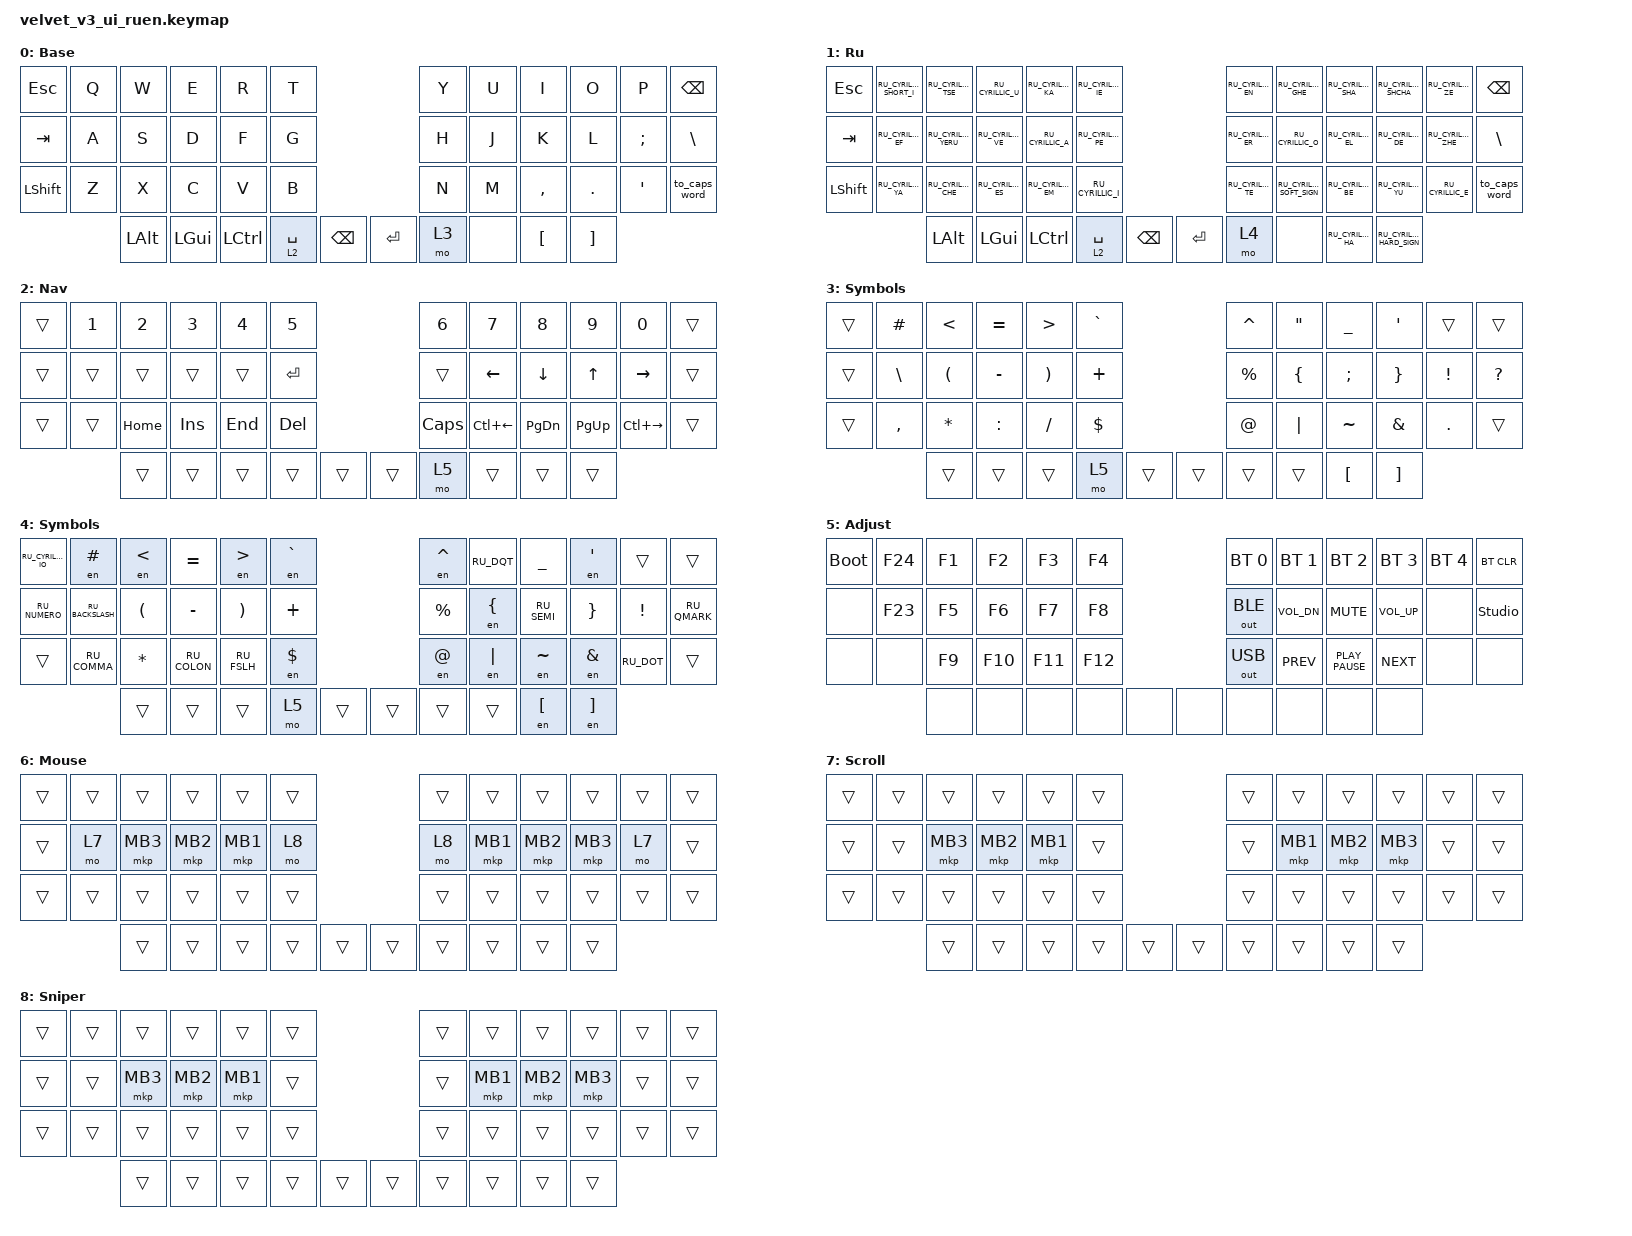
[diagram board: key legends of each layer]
#include "keys_ru.h"
#include <dt-bindings/zmk/input_transform.h>
#include <input/processors.dtsi>
#include <zephyr/dt-bindings/input/input-event-codes.h>
#include <behaviors.dtsi>
#include <dt-bindings/zmk/bt.h>
#include <dt-bindings/zmk/keys.h>
#include <dt-bindings/zmk/outputs.h>
#include <dt-bindings/zmk/pointing.h>

/ {
    behaviors {
        cap_sen: cap_sen {
            compatible = "zmk,behavior-hold-tap";
            label = "CAP_SEN";
            bindings = <&mo>, <&mkp>;

            #binding-cells = <2>;
            tapping-term-ms = <150>;
            hold-while-undecided;
        };

        mouse_layer: mouse_layer {
            compatible = "zmk,behavior-sticky-key";
            label = "MOUSE_LAYER";
            bindings = <&mo>;
            #binding-cells = <1>;
            release-after-ms = <200>;
        };

        to_caps_word: to_caps_word {
            compatible = "zmk,behavior-tap-dance";
            label = "TO_CAPS_WORD";
            #binding-cells = <0>;
            bindings = <&kp RIGHT_SHIFT>, <&caps_word>;
        };

        zip_auto_mouse: zip_auto_mouse {
            compatible = "zmk,input-processor-temp-layer";
            #input-processor-cells = <2>;
            require-prior-idle-ms = <800>;
            excluded-positions = <>;
        };
    };

    combos {
        compatible = "zmk,combos";

        cmben {
            bindings = <&layer_en>;
            key-positions = <3 4>;
            layers = <1>;
        };

        cmbru {
            bindings = <&layer_ru>;
            key-positions = <3 4>;
            layers = <0>;
        };

        code_word {
            bindings = <&code_word>;
            key-positions = <4 5>;
        };

        code_block {
            bindings = <&code_block>;
            key-positions = <5 17>;
        };
    };

    macros {
        to_ru: to_ru {
            compatible = "zmk,behavior-macro";
            #binding-cells = <0>;
            bindings = <&kp LS(LC(N2))>;
            label = "TO_RU";
            wait-ms = <0>;
            tap-ms = <30>;
        };

        to_en: to_en {
            compatible = "zmk,behavior-macro";
            #binding-cells = <0>;
            bindings = <&kp LS(LC(N1))>;
            label = "TO_EN";
            wait-ms = <0>;
            tap-ms = <30>;
        };

        layer_en: layer_en {
            compatible = "zmk,behavior-macro";
            #binding-cells = <0>;
            bindings = <&to 0 &to_en>;
            label = "LAYER_EN";
            wait-ms = <0>;
            tap-ms = <30>;
        };

        layer_ru: layer_ru {
            compatible = "zmk,behavior-macro";
            #binding-cells = <0>;
            bindings = <&to 1 &to_ru>;
            label = "LAYER_RU";
            tap-ms = <30>;
            wait-ms = <0>;
        };

        en: en {
            compatible = "zmk,behavior-macro-one-param";
            #binding-cells = <1>;
            bindings =
                <&to_en>,
                <&macro_press>,
                <&macro_param_1to1 &kp MACRO_PLACEHOLDER>,
                <&macro_pause_for_release>,
                <&macro_release>,
                <&macro_param_1to1 &kp MACRO_PLACEHOLDER>,
                <&macro_tap>,
                <&to_ru>;

            label = "EN";
            wait-ms = <0>;
            tap-ms = <30>;
        };

        code_word: code_word {
            compatible = "zmk,behavior-macro";
            #binding-cells = <0>;
            bindings =
                <&to_en>,
                <&macro_wait_time 50>,
                <&kp GRAVE &kp GRAVE>,
                <&macro_wait_time 20>,
                <&kp LEFT>;

            label = "CODE_WORD";
            tap-ms = <20>;
        };

        code_block: code_block {
            compatible = "zmk,behavior-macro";
            #binding-cells = <0>;
            bindings =
                <&to_en>,
                <&macro_wait_time 50>,
                <&kp GRAVE &kp GRAVE &kp GRAVE>,
                <&macro_wait_time 20>,
                <&kp LS(ENTER) &kp LS(ENTER)>,
                <&macro_wait_time 20>,
                <&kp GRAVE &kp GRAVE &kp GRAVE>,
                <&macro_wait_time 20>,
                <&kp UP>;

            label = "CODE_BLOCK";
            tap-ms = <20>;
        };
    };

    keymap {
        compatible = "zmk,keymap";

        en {
            bindings = <
&kp ESC         &kp Q  &kp W     &kp E     &kp R      &kp T                                  &kp Y  &kp U  &kp I      &kp O     &kp P     &kp BSPC
&kp TAB         &kp A  &kp S     &kp D     &kp F      &kp G                                  &kp H  &kp J  &kp K      &kp L     &kp SEMI  &kp BSLH
&kp LEFT_SHIFT  &kp Z  &kp X     &kp C     &kp V      &kp B                                  &kp N  &kp M  &kp COMMA  &kp DOT   &kp SQT   &to_caps_word
                       &kp LALT  &kp LGUI  &kp LCTRL  &lt 2 SPACE  &kp BACKSPACE    &kp RET  &mo 3  &none  &kp LBKT   &kp RBKT
            >;

            display-name = "Base";
        };

        ru {
            display-name = "Ru";
            bindings = <
&kp ESC    &kp RU_CYRILLIC_SHORT_I  &kp RU_CYRILLIC_TSE   &kp RU_CYRILLIC_U   &kp RU_CYRILLIC_KA  &kp RU_CYRILLIC_IE                            &kp RU_CYRILLIC_EN  &kp RU_CYRILLIC_GHE        &kp RU_CYRILLIC_SHA  &kp RU_CYRILLIC_SHCHA      &kp RU_CYRILLIC_ZE   &kp BSPC
&kp TAB    &kp RU_CYRILLIC_EF       &kp RU_CYRILLIC_YERU  &kp RU_CYRILLIC_VE  &kp RU_CYRILLIC_A   &kp RU_CYRILLIC_PE                            &kp RU_CYRILLIC_ER  &kp RU_CYRILLIC_O          &kp RU_CYRILLIC_EL   &kp RU_CYRILLIC_DE         &kp RU_CYRILLIC_ZHE  &kp BSLH
&kp LSHFT  &kp RU_CYRILLIC_YA       &kp RU_CYRILLIC_CHE   &kp RU_CYRILLIC_ES  &kp RU_CYRILLIC_EM  &kp RU_CYRILLIC_I                             &kp RU_CYRILLIC_TE  &kp RU_CYRILLIC_SOFT_SIGN  &kp RU_CYRILLIC_BE   &kp RU_CYRILLIC_YU         &kp RU_CYRILLIC_E    &to_caps_word
                                    &kp LALT              &kp LGUI            &kp LCTRL           &lt 2 SPACE         &kp BACKSPACE    &kp RET  &mo 4               &none                      &kp RU_CYRILLIC_HA   &kp RU_CYRILLIC_HARD_SIGN
            >;
        };

        nav {
            bindings = <
&trans  &kp N1  &kp N2    &kp N3   &kp N4   &kp N5                     &kp N6    &kp N7        &kp N8         &kp N9       &kp N0         &trans
&trans  &trans  &trans    &trans   &trans   &kp RET                    &trans    &kp LEFT      &kp DOWN       &kp UP       &kp RIGHT      &trans
&trans  &trans  &kp HOME  &kp INS  &kp END  &kp DEL                    &kp CLCK  &kp LC(LEFT)  &kp PAGE_DOWN  &kp PAGE_UP  &kp LC(RIGHT)  &trans
                &trans    &trans   &trans   &trans   &trans    &trans  &mo 5     &trans        &trans         &trans
            >;

            display-name = "Nav";
        };

        sym_en {
            bindings = <
&trans  &kp HASH   &kp LT    &kp EQUAL  &kp GT    &kp GRAVE                    &kp CARET  &kp DQT   &kp UNDER  &kp SQT   &trans    &trans
&trans  &kp BSLH   &kp LPAR  &kp MINUS  &kp RPAR  &kp PLUS                     &kp PRCNT  &kp LBRC  &kp SEMI   &kp RBRC  &kp EXCL  &kp QUESTION
&trans  &kp COMMA  &kp STAR  &kp COLON  &kp FSLH  &kp DLLR                     &kp AT     &kp PIPE  &kp TILDE  &kp AMPS  &kp DOT   &trans
                   &trans    &trans     &trans    &mo 5      &trans    &trans  &trans     &trans    &kp LBKT   &kp RBKT
            >;

            display-name = "Symbols";
        };

        sym_ru {
            display-name = "Symbols";
            bindings = <
&kp RU_CYRILLIC_IO  &en HASH          &en LT    &kp EQUAL     &en GT       &en GRAVE                    &en CARET  &kp RU_DQT  &kp UNDER    &en SQT   &trans      &trans
&kp RU_NUMERO       &kp RU_BACKSLASH  &kp LPAR  &kp MINUS     &kp RPAR     &kp PLUS                     &kp PRCNT  &en LBRC    &kp RU_SEMI  &kp RBRC  &kp EXCL    &kp RU_QMARK
&trans              &kp RU_COMMA      &kp STAR  &kp RU_COLON  &kp RU_FSLH  &en DLLR                     &en AT     &en PIPE    &en TILDE    &en AMPS  &kp RU_DOT  &trans
                                      &trans    &trans        &trans       &mo 5      &trans    &trans  &trans     &trans      &en LBKT     &en RBKT
            >;
        };

        adj {
            bindings = <
&bootloader  &kp F24  &kp F1  &kp F2   &kp F3   &kp F4                   &bt BT_SEL 0  &bt BT_SEL 1  &bt BT_SEL 2      &bt BT_SEL 3  &bt BT_SEL 4  &bt BT_CLR
&none        &kp F23  &kp F5  &kp F6   &kp F7   &kp F8                   &out OUT_BLE  &kp C_VOL_DN  &kp K_MUTE        &kp C_VOL_UP  &none         &studio_unlock
&none        &none    &kp F9  &kp F10  &kp F11  &kp F12                  &out OUT_USB  &kp K_PREV    &kp K_PLAY_PAUSE  &kp K_NEXT    &none         &none
                      &none   &none    &none    &none    &none    &none  &none         &none         &none             &none
            >;

            display-name = "Adjust";
        };

        mouse {
            bindings = <
&trans  &trans  &trans    &trans    &trans    &trans                    &trans  &trans    &trans    &trans    &trans  &trans
&trans  &mo 7   &mkp MB3  &mkp MB2  &mkp MB1  &mo 8                     &mo 8   &mkp MB1  &mkp MB2  &mkp MB3  &mo 7   &trans
&trans  &trans  &trans    &trans    &trans    &trans                    &trans  &trans    &trans    &trans    &trans  &trans
                &trans    &trans    &trans    &trans  &trans    &trans  &trans  &trans    &trans    &trans
            >;

            display-name = "Mouse";
        };

        scroll {
            bindings = <
&trans  &trans  &trans    &trans    &trans    &trans                    &trans  &trans    &trans    &trans    &trans  &trans
&trans  &trans  &mkp MB3  &mkp MB2  &mkp MB1  &trans                    &trans  &mkp MB1  &mkp MB2  &mkp MB3  &trans  &trans
&trans  &trans  &trans    &trans    &trans    &trans                    &trans  &trans    &trans    &trans    &trans  &trans
                &trans    &trans    &trans    &trans  &trans    &trans  &trans  &trans    &trans    &trans
            >;

            display-name = "Scroll";
        };

        sniper {
            bindings = <
&trans  &trans  &trans    &trans    &trans    &trans                    &trans  &trans    &trans    &trans    &trans  &trans
&trans  &trans  &mkp MB3  &mkp MB2  &mkp MB1  &trans                    &trans  &mkp MB1  &mkp MB2  &mkp MB3  &trans  &trans
&trans  &trans  &trans    &trans    &trans    &trans                    &trans  &trans    &trans    &trans    &trans  &trans
                &trans    &trans    &trans    &trans  &trans    &trans  &trans  &trans    &trans    &trans
            >;

            display-name = "Sniper";
        };
    };
};

&trackball { cpi = <1000>; };

&trackball_listener {
    input-processors = <&zip_auto_mouse 6 500>, <&zip_xy_scaler 9 20>;

    scroller {
        layers = <7>;
        input-processors =
            <&zip_xy_transform INPUT_TRANSFORM_Y_INVERT>,
            <&zip_xy_scaler 1 32>,
            <&zip_xy_to_scroll_mapper>;
    };

    sniper {
        layers = <8>;
        input-processors = <&zip_xy_scaler 1 4>;
    };
};
